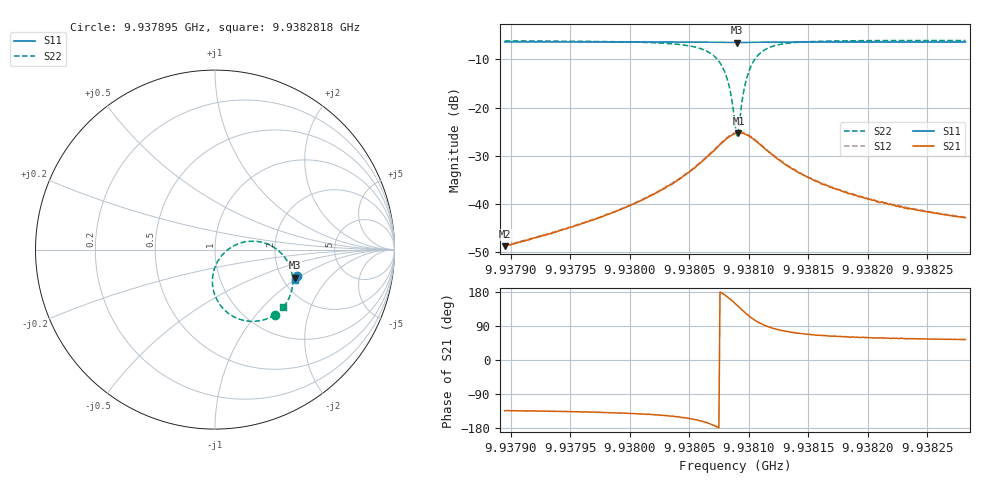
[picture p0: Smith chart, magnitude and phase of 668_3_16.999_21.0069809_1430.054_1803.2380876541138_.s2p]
#  HZ  S  RI  R  50.00
! Rohde & Schwarz Vector Network Analyzer
! Rohde-Schwarz,ZNB20-2Port,1311601062101988,3.16
! Created: UTC 3/20/2024, 11:22:03 PM
! freq[Hz]  re:S11  im:S11  re:S21  im:S21  re:S12  im:S12  re:S22  im:S22
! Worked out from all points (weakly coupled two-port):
!   401 points, 9.937895 GHz to 9.9382818 GHz, reference 50 ohm
!   highest |S21| = -25.22 dB at 9.9380913 GHz (marker M1); lowest = -48.7 dB at 9.937895 GHz (marker M2)
!   lowest |S11| = -6.5 dB at 9.9380903 GHz (marker M3), VSWR 2.80, Z = 117 - j47.4 ohm
!   |S11| at or under -10 dB: nowhere
!   |S22| runs from -26.0 to -6.1 dB; largest |S21 - S12| = 0.0018
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9.93789496e9  0.4581 -0.1472  -0.00254 -0.00263  -0.00259 -0.00266  0.3341 -0.3619
9.93795976e9  0.4561 -0.1517  -0.0046 -0.00426  -0.00468 -0.00423  0.3122 -0.3746
9.93799748e9  0.4548 -0.1543  -0.00721 -0.00592  -0.00738 -0.00592  0.2869 -0.3862
9.93802457e9  0.4538 -0.1565  -0.011 -0.00775  -0.0115 -0.00766  0.2518 -0.396
9.93805552e9  0.4516 -0.1588  -0.0226 -0.0093  -0.0231 -0.00905  0.1561 -0.3936
9.93807196e9  0.4493 -0.1595  -0.0368 -0.00358  -0.0377 -0.00328  0.0465 -0.3301
9.93807776e9  0.4483 -0.1594  -0.0434 0.00311  -0.0444 0.00395  0.00388 -0.2652
9.93808163e9  0.4476 -0.1588  -0.0468 0.0105  -0.0477 0.0115  -0.0132 -0.202
9.93808453e9  0.4471 -0.1582  -0.0479 0.0172  -0.0487 0.0185  -0.0122 -0.1451
9.9380884e9  0.447 -0.1572  -0.0463 0.0273  -0.0468 0.0289  0.0148 -0.0656
9.93809034e9  0.447 -0.1567  -0.044 0.0322  -0.0445 0.034  0.0408 -0.0292
9.9380913e9  0.4473 -0.1565  -0.0424 0.0347  -0.0428 0.0362  0.0567 -0.0129
9.93809517e9  0.4479 -0.1557  -0.0346 0.0418  -0.0344 0.0435  0.1321 0.0335
9.93809807e9  0.4486 -0.1554  -0.0274 0.0448  -0.027 0.0464  0.1939 0.0466
9.93810194e9  0.4496 -0.1553  -0.0181 0.0456  -0.0176 0.0469  0.269 0.0389
9.93810678e9  0.4505 -0.1557  -0.00888 0.0433  -0.0081 0.0443  0.3394 0.00535
9.93811355e9  0.4515 -0.1565  -0.000722 0.0375  0.00012 0.0381  0.3962 -0.0537
9.93812225e9  0.4521 -0.1579  0.00424 0.0303  0.00509 0.0308  0.4252 -0.1186
9.93815321e9  0.4519 -0.1613  0.0072 0.0165  0.00751 0.0166  0.4253 -0.2343
9.93818416e9  0.4509 -0.164  0.00633 0.0113  0.00655 0.0113  0.4094 -0.2767
9.93821801e9  0.4501 -0.1665  0.00537 0.00839  0.0056 0.00847  0.3963 -0.2996
9.93828185e9  0.4482 -0.1708  0.00425 0.00586  0.0044 0.00586  0.3803 -0.3211
